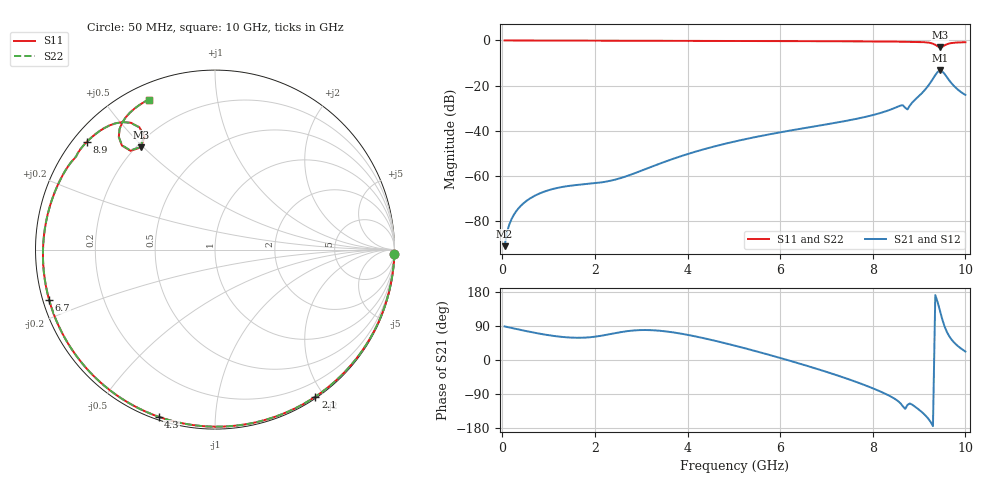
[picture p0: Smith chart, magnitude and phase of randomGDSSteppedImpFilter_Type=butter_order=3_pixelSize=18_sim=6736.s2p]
! freq	dB(S11)	phase(S11)	dB(S12)	phase(S12)
!  dB(S21)	phase(S21)	dB(S22)	phase(S22)
!S-par simulation data
#  GHz  S  DB  R 50
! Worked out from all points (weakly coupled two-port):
!   200 points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, 50 MHz to 10 GHz, reference 50 ohm
!   highest |S21| = -13.27 dB at 9.45 GHz (marker M1); lowest = -90.9 dB at 50 MHz (marker M2)
!   lowest |S11| = -3.1 dB at 9.45 GHz (marker M3), VSWR 5.74, Z = 10.9 + j24.6 ohm
!   |S11| at or under -10 dB: nowhere
!   |S22| runs from -3.0 to 0.0 dB; largest |S21 - S12| = 0
!   S11 on the Smith chart (normalised r, x): 50 MHz: 0, -83; 2.1 GHz: 0.02, -1.89; 4.3 GHz: 0.01, -0.72; 6.7 GHz: 0.02, -0.15; 8.9 GHz: 0.04, +0.37; 10 GHz: 0.06, +0.65
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0.05  -0.00 -1.4  -90.94 88.6  -90.94 88.6  -0.00 -1.4
0.15  -0.01 -4.1  -81.43 85.9  -81.43 85.9  -0.01 -4.1
0.4  -0.02 -10.9  -73.10 79.3  -73.10 79.3  -0.02 -10.9
0.75  -0.03 -20.3  -68.15 70.7  -68.15 70.7  -0.03 -20.3
1.2  -0.04 -32.3  -65.14 62.1  -65.14 62.1  -0.04 -32.3
1.75  -0.06 -46.7  -63.60 58.9  -63.60 58.9  -0.06 -46.7
2.1  -0.07 -55.7  -62.86 63.2  -62.86 63.2  -0.07 -55.7
2.6  -0.09 -68.2  -60.56 74.4  -60.56 74.4  -0.09 -68.2
3.4  -0.11 -87.7  -54.46 77.2  -54.46 77.2  -0.11 -87.7
4.3  -0.15 -108.7  -48.40 58.9  -48.40 58.9  -0.15 -108.6
5.05  -0.19 -125.7  -44.52 37.0  -44.52 37.0  -0.19 -125.7
6.7  -0.30 -163.0  -38.13 -19.8  -38.13 -19.8  -0.30 -163.0
7.55  -0.38 176.7  -35.05 -53.8  -35.05 -53.8  -0.38 176.7
8.35  -0.48 155.9  -30.83 -93.9  -30.83 -93.9  -0.48 156.0
8.65  -0.59 147.3  -28.65 -122.2  -28.65 -122.2  -0.59 147.4
8.75  -0.59 144.8  -30.47 -118.5  -30.47 -118.5  -0.59 144.8
8.9  -0.60 139.8  -26.45 -122.0  -26.45 -122.0  -0.60 139.8
9.25  -1.14 125.8  -18.50 -163.6  -18.50 -163.6  -1.14 125.9
9.45  -3.06 125.9  -13.27 130.5  -13.27 130.5  -3.02 125.9
9.55  -2.19 131.8  -14.78 88.6  -14.78 88.6  -2.17 131.7
9.65  -1.35 128.5  -17.62 62.9  -17.62 62.9  -1.34 128.4
10  -0.78 113.9  -24.07 22.3  -24.07 22.3  -0.78 113.9
